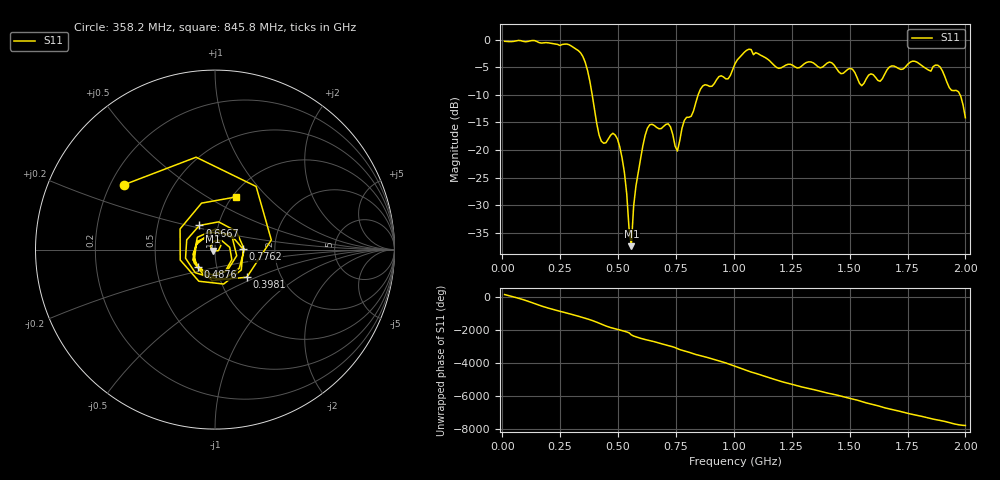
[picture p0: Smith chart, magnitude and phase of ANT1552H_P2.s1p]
!Created with skrf (http://scikit-rf.org).
# Hz S RI R 50.0
!freq ReS11 ImS11
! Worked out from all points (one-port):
!   201 points, 10 MHz to 2 GHz, reference 50 ohm
!   lowest |S11| = -37.5 dB at 557.2 MHz (marker M1), VSWR 1.03, Z = 48.9 - j0.773 ohm
!   |S11| at or under -10 dB: 388.3 MHz to 845.7 MHz (457.4 MHz wide, 74.1 % of centre); 1.977 GHz to end of sweep
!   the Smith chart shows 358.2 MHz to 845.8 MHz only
!   S11 on the Smith chart (normalised r, x): 358.2 MHz: 0.25, +0.30; 398.1 MHz: 1.35, -0.44; 487.6 MHz: 0.81, -0.16; 666.7 MHz: 0.81, +0.22; 776.1 MHz: 1.37, +0.00; 845.8 MHz: 1.04, +0.68
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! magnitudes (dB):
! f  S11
! 10 MHz  -0.3
! 258.8 MHz  -0.9
! 358.2 MHz  -4.1
! 398.1 MHz  -12.6
! 427.9 MHz  -18.4
! 487.6 MHz  -17.3
! 507.5 MHz  -19.5
! 527.4 MHz  -24.1
! 557.2 MHz  -37.5
! 567.2 MHz  -30.2
! 577.1 MHz  -26.6
! 607 MHz  -19.3
! 636.9 MHz  -15.4
! 666.7 MHz  -15.9
! 716.5 MHz  -15.3
! 756.2 MHz  -20.2
! 776.1 MHz  -16.0
! 845.8 MHz  -10.0
! 975.1 MHz  -7.1
! 1.005 GHz  -4.4
! 1.065 GHz  -1.7
! 1.254 GHz  -4.6
! 1.502 GHz  -5.2
! 1.552 GHz  -8.3
! 1.751 GHz  -4.4
! 1.891 GHz  -4.9
! 1.98 GHz  -10.3
! 2 GHz  -14.2
